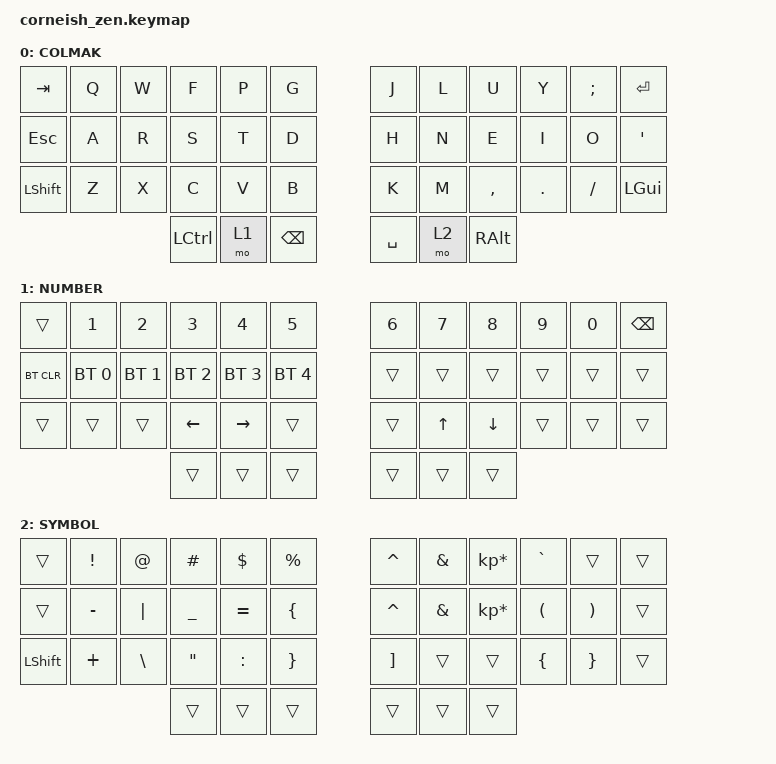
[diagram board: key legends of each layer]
#include <behaviors.dtsi>
#include <dt-bindings/zmk/keys.h>
#include <dt-bindings/zmk/bt.h>

/ {
  chosen {
    zmk,matrix_transform = &default_transform;
    //zmk,matrix_transform = &five_column_transform;
  };
};

/ {
        keymap {
                compatible = "zmk,keymap";
                default_layer {
                        label = "COLMAK";
// -----------------------------------------------------------------------------------------
// | ESC  |  Q  |  W  |  F  |  P  |  G  |   |  J  |  L   |  U  |  Y  |  ;  | BKSP |
// | CTRL |  A  |  R  |  S  |  T  |  D  |   |  H  |  N   |  E  |  I  |  O  |  '   |
// | SHFT |  Z  |  X  |  C  |  V  |  B  |   |  K  |  M   |  ,  |  .  |  /  | TAB  |
//                    | GUI | LWR | SPC |   | ENT | RSE  | ALT |
                        bindings = <
   &kp TAB    &kp Q  &kp W  &kp F      &kp P  &kp G      &kp J    &kp L  &kp U      &kp Y    &kp SEMI  &kp RET
   &kp ESC    &kp A  &kp R  &kp S      &kp T  &kp D      &kp H    &kp N  &kp E      &kp I    &kp O     &kp SQT
   &kp LSHFT  &kp Z  &kp X  &kp C      &kp V  &kp B      &kp K    &kp M  &kp COMMA  &kp DOT  &kp FSLH  &kp LGUI
                            &kp LCTRL   &mo 1 &kp BSPC   &kp SPACE  &mo 2  &kp RALT
                        >;
                };

                lower_layer {
                        label = "NUMBER";
// -----------------------------------------------------------------------------------------
// |  TAB |  1  |  2  |  3  |  4  |  5  |   |  6  |  7  |  8  |  9  |  0  | BKSP |
// | BTCLR| BT1 | BT2 | BT3 | BT4 | BT5 |   | LFT | DWN |  UP | RGT |     |      |
// | SHFT |     |     |     |     |     |   |     |     |     |     |     |      |
//                    | GUI |     | SPC |   | ENT |     | ALT |
                        bindings = <
   &trans    &kp N1       &kp N2       &kp N3       &kp N4       &kp N5         &kp N6   &kp N7     &kp N8      &kp N9  &kp N0 &kp BSPC
   &bt BT_CLR &bt BT_SEL 0 &bt BT_SEL 1 &bt BT_SEL 2 &bt BT_SEL 3 &bt BT_SEL 4   &trans   &trans     &trans      &trans  &trans &trans
   &trans  &trans       &trans       &kp LEFT     &kp RIGHT     &trans         &trans   &kp UP     &kp DOWN   &trans  &trans &trans
                          	        &trans     &trans      &trans &trans  &trans   &trans
                        >;
                };

                raise_layer {
                        label = "SYMBOL";
// -----------------------------------------------------------------------------------------
// | ESC  |  !  |  @  |  #  |  $  |  %  |   |  ^  |  &  |  *  |  `  |  :  | BKSP |
// | CTRL |  -  |  +  |  _  |  =  |  {  |   |  }  |  |  |  (  |  )  |  \  |  "   |
// | SHFT |     |     |     |     |  [  |   |  ]  |     |     |     |     | TAB  |
//                    | GUI |     | SPC |   | ENT |     | CTRL|
                        bindings = <
   &trans     &kp EXCL  &kp AT     &kp HASH   &kp DLLR  &kp PRCNT    &kp CARET  &kp AMPS  &kp KP_MULTIPLY  &kp GRAVE  &trans     &trans
   &trans     &kp MINUS &kp PIPE   &kp UNDER  &kp EQUAL &kp LBRC     &kp CARET  &kp AMPS  &kp KP_MULTIPLY  &kp LPAR  &kp RPAR    &trans
   &kp LSHFT  &kp PLUS  &kp BSLH   &kp DQT   &kp COLON  &kp RBRC     &kp RBKT   &trans    &trans           &kp LBRC  &kp RBRC     &trans
                                   &trans   &trans    &trans &trans    &trans    &trans
                        >;
                };
        };
};
